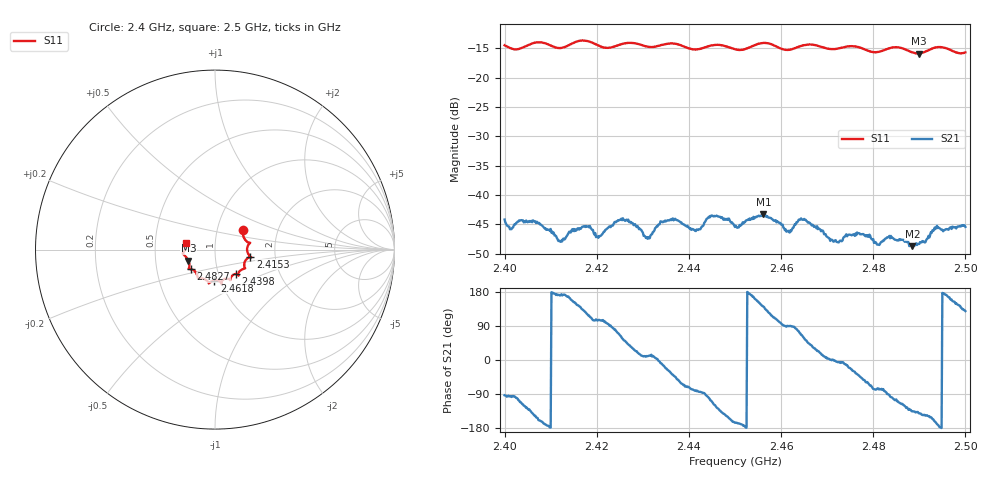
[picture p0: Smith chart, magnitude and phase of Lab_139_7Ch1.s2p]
# Hz S RI R 50
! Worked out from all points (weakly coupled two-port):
!   601 points, 2.4 GHz to 2.5 GHz, reference 50 ohm
!   highest |S21| = -43.30 dB at 2.4562 GHz (marker M1); lowest = -48.7 dB at 2.4885 GHz (marker M2)
!   lowest |S11| = -15.9 dB at 2.4898 GHz (marker M3), VSWR 1.38, Z = 36.8 - j4.63 ohm
!   |S11| at or under -10 dB: start of sweep to end of sweep
!   S12 and S22 are empty: the file has one direction only
!   S11 on the Smith chart (normalised r, x): 2.4 GHz: 1.33, +0.30; 2.4153 GHz: 1.48, -0.12; 2.4398 GHz: 1.21, -0.34; 2.4618 GHz: 0.94, -0.33; 2.4827 GHz: 0.75, -0.17; 2.5 GHz: 0.72, +0.06
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2.4e9  0.1553 0.1072  -0.000331 -0.00616  0 0  0 0
2.406667e9  0.1953 0.0377  -0.005 -0.00323  0 0  0 0
2.412e9  0.1785 -3.43e-05  -0.00396 0.000678  0 0  0 0
2.415333e9  0.1968 -0.0395  -0.00441 0.00254  0 0  0 0
2.416667e9  0.2025 -0.0435  -0.00374 0.00367  0 0  0 0
2.420333e9  0.1816 -0.0481  -0.00115 0.00416  0 0  0 0
2.426167e9  0.1674 -0.1024  0.00385 0.00461  0 0  0 0
2.431e9  0.1425 -0.1156  0.00417 0.000737  0 0  0 0
2.433333e9  0.1298 -0.1339  0.00557 -0.000131  0 0  0 0
2.439833e9  0.1154 -0.1357  0.00177 -0.00502  0 0  0 0
2.4455e9  0.084 -0.17  -0.00314 -0.00584  0 0  0 0
2.45e9  0.0651 -0.1619  -0.00517 -0.00132  0 0  0 0
2.456167e9  0.0389 -0.1937  -0.0053 0.00433  0 0  0 0
2.461833e9  -0.00321 -0.1727  3.41e-05 0.00478  0 0  0 0
2.466667e9  -0.0345 -0.1881  0.00433 0.00337  0 0  0 0
2.471833e9  -0.0683 -0.1617  0.00411 -0.000216  0 0  0 0
2.482667e9  -0.1349 -0.1088  0.000446 -0.00423  0 0  0 0
2.483333e9  -0.1401 -0.1086  -8.77e-05 -0.00438  0 0  0 0
2.4885e9  -0.143 -0.0804  -0.0026 -0.00257  0 0  0 0
2.489833e9  -0.1482 -0.0613  -0.00293 -0.00246  0 0  0 0
2.493833e9  -0.1803 -0.0229  -0.00536 -0.00105  0 0  0 0
2.5e9  -0.1594 0.0389  -0.00336 0.00415  0 0  0 0
